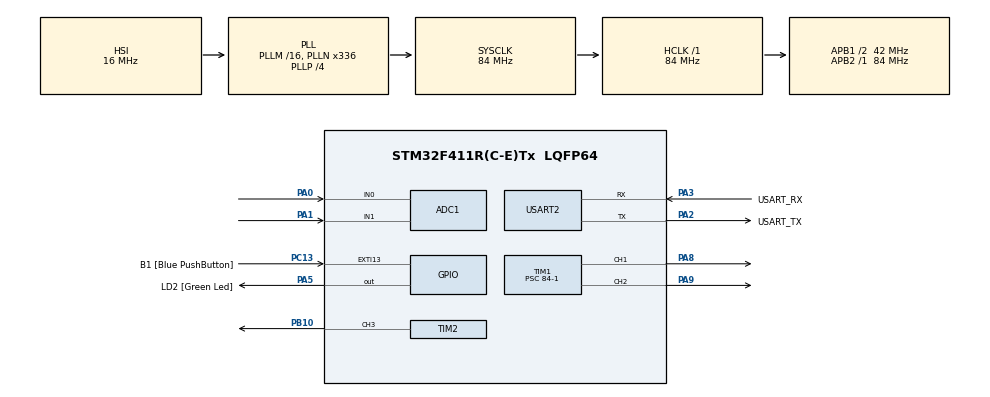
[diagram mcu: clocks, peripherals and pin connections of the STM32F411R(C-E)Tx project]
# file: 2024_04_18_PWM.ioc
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ADC1.Channel-0\#ChannelRegularConversion=ADC_CHANNEL_0
ADC1.Channel-1\#ChannelRegularConversion=ADC_CHANNEL_1
ADC1.DiscontinuousConvMode=ENABLE
ADC1.EOCSelection=ADC_EOC_SINGLE_CONV
ADC1.NbrOfConversion=2
ADC1.NbrOfConversionFlag=1
ADC1.Rank-0\#ChannelRegularConversion=1
ADC1.Rank-1\#ChannelRegularConversion=2
ADC1.SamplingTime-0\#ChannelRegularConversion=ADC_SAMPLETIME_3CYCLES
ADC1.SamplingTime-1\#ChannelRegularConversion=ADC_SAMPLETIME_3CYCLES
ADC1.ScanConvMode=ENABLE
ADC1.master=1
Mcu.Family=STM32F4
Mcu.Name=STM32F411R(C-E)Tx
Mcu.Package=LQFP64
NVIC.ADC_IRQn=true\:0\:0\:false\:false\:true\:true\:true\:true
NVIC.PriorityGroup=NVIC_PRIORITYGROUP_0
NVIC.TIM1_BRK_TIM9_IRQn=true\:0\:0\:false\:false\:true\:true\:true\:true
NVIC.TIM1_CC_IRQn=true\:0\:0\:false\:false\:true\:true\:true\:true
NVIC.TIM1_TRG_COM_TIM11_IRQn=true\:0\:0\:false\:false\:true\:true\:true\:true
NVIC.TIM1_UP_TIM10_IRQn=true\:0\:0\:false\:false\:true\:true\:true\:true
PA0-WKUP.Signal=ADCx_IN0
PA1.Signal=ADCx_IN1
PA13.GPIO_Label=TMS
PA13.Mode=Serial_Wire
PA13.Signal=SYS_JTMS-SWDIO
PA14.GPIO_Label=TCK
PA14.Mode=Serial_Wire
PA14.Signal=SYS_JTCK-SWCLK
PA2.GPIO_Label=USART_TX
PA2.Mode=Asynchronous
PA2.Signal=USART2_TX
PA3.GPIO_Label=USART_RX
PA3.Mode=Asynchronous
PA3.Signal=USART2_RX
PA5.GPIO_Label=LD2 [Green Led]
PA5.Signal=GPIO_Output
PA8.Signal=S_TIM1_CH1
PA9.Signal=S_TIM1_CH2
PB10.Signal=S_TIM2_CH3
PB3.GPIO_Label=SWO
PB3.Signal=SYS_JTDO-SWO
PC13-ANTI_TAMP.GPIO_Label=B1 [Blue PushButton]
PC13-ANTI_TAMP.GPIO_ModeDefaultEXTI=GPIO_MODE_IT_FALLING
PC13-ANTI_TAMP.Signal=GPXTI13
PC14-OSC32_IN.Mode=LSE-External-Oscillator
PC14-OSC32_IN.Signal=RCC_OSC32_IN
PC15-OSC32_OUT.Mode=LSE-External-Oscillator
PC15-OSC32_OUT.Signal=RCC_OSC32_OUT
PH0\ -\ OSC_IN.Mode=HSE-External-Clock-Source
PH0\ -\ OSC_IN.Signal=RCC_OSC_IN
PH1\ -\ OSC_OUT.Mode=HSE-External-Clock-Source
PH1\ -\ OSC_OUT.Signal=RCC_OSC_OUT
ProjectManager.HeapSize=0x200
ProjectManager.StackSize=0x400
ProjectManager.TargetToolchain=STM32CubeIDE
RCC.48MHZClocksFreq_Value=84000000
RCC.AHBFreq_Value=84000000
RCC.APB1CLKDivider=RCC_HCLK_DIV2
RCC.APB1Freq_Value=42000000
RCC.APB1TimFreq_Value=84000000
RCC.APB2Freq_Value=84000000
RCC.APB2TimFreq_Value=84000000
RCC.CortexFreq_Value=84000000
RCC.FLatency-AdvancedSettings=FLASH_LATENCY_2
RCC.HCLKFreq_Value=84000000
RCC.HSE_VALUE=8000000
RCC.HSI_VALUE=16000000
RCC.PLLN=336
RCC.PLLP=RCC_PLLP_DIV4
RCC.SYSCLKFreq_VALUE=84000000
RCC.SYSCLKSource=RCC_SYSCLKSOURCE_PLLCLK
RCC.VCOOutputFreq_Value=336000000
SH.ADCx_IN0.0=ADC1_IN0,IN0
SH.ADCx_IN1.0=ADC1_IN1,IN1
SH.S_TIM1_CH1.0=TIM1_CH1,PWM Generation1 CH1
SH.S_TIM1_CH2.0=TIM1_CH2,PWM Generation2 CH2
SH.S_TIM2_CH3.0=TIM2_CH3,PWM Generation3 CH3
TIM1.Channel-PWM\ Generation1\ CH1=TIM_CHANNEL_1
TIM1.Channel-PWM\ Generation2\ CH2=TIM_CHANNEL_2
TIM1.Period=1000-1
TIM1.Prescaler=84-1
TIM1.Pulse-PWM\ Generation1\ CH1=0
TIM2.Channel-PWM\ Generation3\ CH3=TIM_CHANNEL_3
TIM2.Period=1000
TIM2.Pulse-PWM\ Generation3\ CH3=500
USART2.VirtualMode=VM_ASYNC
VP_TIM1_VS_ClockSourceINT.Mode=Internal
VP_TIM2_VS_ClockSourceINT.Mode=Internal
board=NUCLEO-F411RE

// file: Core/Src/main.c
/* USER CODE BEGIN Header */
/**
  ******************************************************************************
  * @file           : main.c
  * @brief          : Main program body
  ******************************************************************************
  * @attention
  *
  * Copyright (c) 2024 STMicroelectronics.
  * All rights reserved.
  *
  * This software is licensed under terms that can be found in the LICENSE file
  * in the root directory of this software component.
  * If no LICENSE file comes with this software, it is provided AS-IS.
  *
  ******************************************************************************
  */
/* USER CODE END Header */
#include "main.h"

/* USER CODE BEGIN Includes */
#include "D:\PJH\Github_clone\Haman3rd_PJH\ARM Architecture\Common\myLib.h"

/* USER CODE END Includes */

ADC_HandleTypeDef hadc1;

TIM_HandleTypeDef htim1;
TIM_HandleTypeDef htim2;

UART_HandleTypeDef huart2;

void SystemClock_Config(void);
static void MX_GPIO_Init(void);
static void MX_USART2_UART_Init(void);
static void MX_ADC1_Init(void);
static void MX_TIM1_Init(void);
static void MX_TIM2_Init(void);

int main(void)
{

  /* MCU Configuration--------------------------------------------------------*/

  /* Reset of all peripherals, Initializes the Flash interface and the Systick. */
  HAL_Init();

  /* Configure the system clock */
  SystemClock_Config();

  /* Initialize all configured peripherals */
  MX_GPIO_Init();
  MX_USART2_UART_Init();
  MX_ADC1_Init();
  MX_TIM1_Init();
  MX_TIM2_Init();
  /* USER CODE BEGIN 2 */
  ProgramStart();

  HAL_TIM_PWM_Start(&htim1, TIM_CHANNEL_1);
  HAL_TIM_PWM_Start(&htim1, TIM_CHANNEL_2);
  /* USER CODE END 2 */

  /* Infinite loop */
  while (1)
  {

    /* USER CODE BEGIN 3 */

	int r1 = GetAdcValue();
	int r2 = GetAdcValue();
	htim1.Instance->CCR1 = r1*990/4096;
	htim1.Instance->CCR2 = r2*990/4096;

  TIM1->PSC = RA4-1;
  HAL_Delay(500);
  TIM1->PSC = RE5-1;
  HAL_Delay(500);
  TIM1->PSC = 1-1;	// ?��?��
  HAL_Delay(500);

  TIM1->PSC = FA5-1;
  HAL_Delay(250);
  TIM1->PSC = FA5-1;
  HAL_Delay(250);
  TIM1->PSC = FA5-1;
  HAL_Delay(500);
  TIM1->PSC = ME5-1;
  HAL_Delay(500);
  TIM1->PSC = DOp5-1;
  HAL_Delay(500);
  TIM1->PSC = 1-1;
  HAL_Delay(500);

  TIM1->PSC = RA4-1;
  HAL_Delay(500);
  TIM1->PSC = RE4-1;
  HAL_Delay(500);
  TIM1->PSC = 1-1;
  HAL_Delay(500);

  TIM1->PSC = FA5-1;
  HAL_Delay(250);
  TIM1->PSC = FA5-1;
  HAL_Delay(250);
  TIM1->PSC = FA5-1;
  HAL_Delay(500);
  TIM1->PSC = ME5-1;
  HAL_Delay(500);
  TIM1->PSC = FA4-1;
  HAL_Delay(200);
  TIM1->PSC = SOL4-1;
  HAL_Delay(200);
  TIM1->PSC = RA4-1;
  HAL_Delay(200);

  TIM1->PSC = 191-1;
  HAL_Delay(300);
  TIM1->PSC = 214-1;
  HAL_Delay(200);
  TIM1->PSC = 214-1;
  HAL_Delay(200);
  TIM1->PSC = 241-1;
  HAL_Delay(200);
  TIM1->PSC = 241-1;
  HAL_Delay(200);
  TIM1->PSC = 1-1;
  HAL_Delay(100);
  TIM1->PSC = 241-1;
  HAL_Delay(200);
  TIM1->PSC = 241-1;
  HAL_Delay(200);
  TIM1->PSC = 241-1;
  HAL_Delay(200);
  TIM1->PSC = 1-1;
  HAL_Delay(100);
  TIM1->PSC = 241-1;
  HAL_Delay(200);
  TIM1->PSC = 286-1;
  HAL_Delay(200);
  TIM1->PSC = 1-1;
  HAL_Delay(200);

/*
	 for(int i=0; i<990; i++)
	     {
	        htim1.Instance->CCR1 = i;
	        htim1.Instance->CCR2 = 990-i;
	        HAL_Delay(10);
	     }
*/
  }
  /* USER CODE END 3 */
}

void SystemClock_Config(void)
{
  RCC_OscInitTypeDef RCC_OscInitStruct = {0};
  RCC_ClkInitTypeDef RCC_ClkInitStruct = {0};

  /** Configure the main internal regulator output voltage
  */
  __HAL_RCC_PWR_CLK_ENABLE();
  __HAL_PWR_VOLTAGESCALING_CONFIG(PWR_REGULATOR_VOLTAGE_SCALE1);

  /** Initializes the RCC Oscillators according to the specified parameters
  * in the RCC_OscInitTypeDef structure.
  */
  RCC_OscInitStruct.OscillatorType = RCC_OSCILLATORTYPE_HSI;
  RCC_OscInitStruct.HSIState = RCC_HSI_ON;
  RCC_OscInitStruct.HSICalibrationValue = RCC_HSICALIBRATION_DEFAULT;
  RCC_OscInitStruct.PLL.PLLState = RCC_PLL_ON;
  RCC_OscInitStruct.PLL.PLLSource = RCC_PLLSOURCE_HSI;
  RCC_OscInitStruct.PLL.PLLM = 16;
  RCC_OscInitStruct.PLL.PLLN = 336;
  RCC_OscInitStruct.PLL.PLLP = RCC_PLLP_DIV4;
  RCC_OscInitStruct.PLL.PLLQ = 4;
  if (HAL_RCC_OscConfig(&RCC_OscInitStruct) != HAL_OK)
  {
    Error_Handler();
  }

  /** Initializes the CPU, AHB and APB buses clocks
  */
  RCC_ClkInitStruct.ClockType = RCC_CLOCKTYPE_HCLK|RCC_CLOCKTYPE_SYSCLK
                              |RCC_CLOCKTYPE_PCLK1|RCC_CLOCKTYPE_PCLK2;
  RCC_ClkInitStruct.SYSCLKSource = RCC_SYSCLKSOURCE_PLLCLK;
  RCC_ClkInitStruct.AHBCLKDivider = RCC_SYSCLK_DIV1;
  RCC_ClkInitStruct.APB1CLKDivider = RCC_HCLK_DIV2;
  RCC_ClkInitStruct.APB2CLKDivider = RCC_HCLK_DIV1;

  if (HAL_RCC_ClockConfig(&RCC_ClkInitStruct, FLASH_LATENCY_2) != HAL_OK)
  {
    Error_Handler();
  }
}

static void MX_ADC1_Init(void)
{

  ADC_ChannelConfTypeDef sConfig = {0};

  /** Configure the global features of the ADC (Clock, Resolution, Data Alignment and number of conversion)
  */
  hadc1.Instance = ADC1;
  hadc1.Init.ClockPrescaler = ADC_CLOCK_SYNC_PCLK_DIV4;
  hadc1.Init.Resolution = ADC_RESOLUTION_12B;
  hadc1.Init.ScanConvMode = ENABLE;
  hadc1.Init.ContinuousConvMode = DISABLE;
  hadc1.Init.DiscontinuousConvMode = ENABLE;
  hadc1.Init.NbrOfDiscConversion = 1;
  hadc1.Init.ExternalTrigConvEdge = ADC_EXTERNALTRIGCONVEDGE_NONE;
  hadc1.Init.ExternalTrigConv = ADC_SOFTWARE_START;
  hadc1.Init.DataAlign = ADC_DATAALIGN_RIGHT;
  hadc1.Init.NbrOfConversion = 2;
  hadc1.Init.DMAContinuousRequests = DISABLE;
  hadc1.Init.EOCSelection = ADC_EOC_SINGLE_CONV;
  if (HAL_ADC_Init(&hadc1) != HAL_OK)
  {
    Error_Handler();
  }

  /** Configure for the selected ADC regular channel its corresponding rank in the sequencer and its sample time.
  */
  sConfig.Channel = ADC_CHANNEL_0;
  sConfig.Rank = 1;
  sConfig.SamplingTime = ADC_SAMPLETIME_3CYCLES;
  if (HAL_ADC_ConfigChannel(&hadc1, &sConfig) != HAL_OK)
  {
    Error_Handler();
  }

  /** Configure for the selected ADC regular channel its corresponding rank in the sequencer and its sample time.
  */
  sConfig.Channel = ADC_CHANNEL_1;
  sConfig.Rank = 2;
  if (HAL_ADC_ConfigChannel(&hadc1, &sConfig) != HAL_OK)
  {
    Error_Handler();
  }

}

static void MX_TIM1_Init(void)
{

  TIM_ClockConfigTypeDef sClockSourceConfig = {0};
  TIM_MasterConfigTypeDef sMasterConfig = {0};
  TIM_OC_InitTypeDef sConfigOC = {0};
  TIM_BreakDeadTimeConfigTypeDef sBreakDeadTimeConfig = {0};

  htim1.Instance = TIM1;
  htim1.Init.Prescaler = 84-1;
  htim1.Init.CounterMode = TIM_COUNTERMODE_UP;
  htim1.Init.Period = 1000-1;
  htim1.Init.ClockDivision = TIM_CLOCKDIVISION_DIV1;
  htim1.Init.RepetitionCounter = 0;
  htim1.Init.AutoReloadPreload = TIM_AUTORELOAD_PRELOAD_DISABLE;
  if (HAL_TIM_Base_Init(&htim1) != HAL_OK)
  {
    Error_Handler();
  }
  sClockSourceConfig.ClockSource = TIM_CLOCKSOURCE_INTERNAL;
  if (HAL_TIM_ConfigClockSource(&htim1, &sClockSourceConfig) != HAL_OK)
  {
    Error_Handler();
  }
  if (HAL_TIM_PWM_Init(&htim1) != HAL_OK)
  {
    Error_Handler();
  }
  sMasterConfig.MasterOutputTrigger = TIM_TRGO_RESET;
  sMasterConfig.MasterSlaveMode = TIM_MASTERSLAVEMODE_DISABLE;
  if (HAL_TIMEx_MasterConfigSynchronization(&htim1, &sMasterConfig) != HAL_OK)
  {
    Error_Handler();
  }
  sConfigOC.OCMode = TIM_OCMODE_PWM1;
  sConfigOC.Pulse = 0;
  sConfigOC.OCPolarity = TIM_OCPOLARITY_HIGH;
  sConfigOC.OCNPolarity = TIM_OCNPOLARITY_HIGH;
  sConfigOC.OCFastMode = TIM_OCFAST_DISABLE;
  sConfigOC.OCIdleState = TIM_OCIDLESTATE_RESET;
  sConfigOC.OCNIdleState = TIM_OCNIDLESTATE_RESET;
  if (HAL_TIM_PWM_ConfigChannel(&htim1, &sConfigOC, TIM_CHANNEL_1) != HAL_OK)
  {
    Error_Handler();
  }
  if (HAL_TIM_PWM_ConfigChannel(&htim1, &sConfigOC, TIM_CHANNEL_2) != HAL_OK)
  {
    Error_Handler();
  }
  sBreakDeadTimeConfig.OffStateRunMode = TIM_OSSR_DISABLE;
  sBreakDeadTimeConfig.OffStateIDLEMode = TIM_OSSI_DISABLE;
  sBreakDeadTimeConfig.LockLevel = TIM_LOCKLEVEL_OFF;
  sBreakDeadTimeConfig.DeadTime = 0;
  sBreakDeadTimeConfig.BreakState = TIM_BREAK_DISABLE;
  sBreakDeadTimeConfig.BreakPolarity = TIM_BREAKPOLARITY_HIGH;
  sBreakDeadTimeConfig.AutomaticOutput = TIM_AUTOMATICOUTPUT_DISABLE;
  if (HAL_TIMEx_ConfigBreakDeadTime(&htim1, &sBreakDeadTimeConfig) != HAL_OK)
  {
    Error_Handler();
  }
  HAL_TIM_MspPostInit(&htim1);

}

static void MX_TIM2_Init(void)
{

  TIM_ClockConfigTypeDef sClockSourceConfig = {0};
  TIM_MasterConfigTypeDef sMasterConfig = {0};
  TIM_OC_InitTypeDef sConfigOC = {0};

  htim2.Instance = TIM2;
  htim2.Init.Prescaler = 0;
  htim2.Init.CounterMode = TIM_COUNTERMODE_UP;
  htim2.Init.Period = 1000;
  htim2.Init.ClockDivision = TIM_CLOCKDIVISION_DIV1;
  htim2.Init.AutoReloadPreload = TIM_AUTORELOAD_PRELOAD_DISABLE;
  if (HAL_TIM_Base_Init(&htim2) != HAL_OK)
  {
    Error_Handler();
  }
  sClockSourceConfig.ClockSource = TIM_CLOCKSOURCE_INTERNAL;
  if (HAL_TIM_ConfigClockSource(&htim2, &sClockSourceConfig) != HAL_OK)
  {
    Error_Handler();
  }
  if (HAL_TIM_PWM_Init(&htim2) != HAL_OK)
  {
    Error_Handler();
  }
  sMasterConfig.MasterOutputTrigger = TIM_TRGO_RESET;
  sMasterConfig.MasterSlaveMode = TIM_MASTERSLAVEMODE_DISABLE;
  if (HAL_TIMEx_MasterConfigSynchronization(&htim2, &sMasterConfig) != HAL_OK)
  {
    Error_Handler();
  }
  sConfigOC.OCMode = TIM_OCMODE_PWM1;
  sConfigOC.Pulse = 500;
  sConfigOC.OCPolarity = TIM_OCPOLARITY_HIGH;
  sConfigOC.OCFastMode = TIM_OCFAST_DISABLE;
  if (HAL_TIM_PWM_ConfigChannel(&htim2, &sConfigOC, TIM_CHANNEL_3) != HAL_OK)
  {
    Error_Handler();
  }
  HAL_TIM_MspPostInit(&htim2);

}

static void MX_USART2_UART_Init(void)
{

  huart2.Instance = USART2;
  huart2.Init.BaudRate = 115200;
  huart2.Init.WordLength = UART_WORDLENGTH_8B;
  huart2.Init.StopBits = UART_STOPBITS_1;
  huart2.Init.Parity = UART_PARITY_NONE;
  huart2.Init.Mode = UART_MODE_TX_RX;
  huart2.Init.HwFlowCtl = UART_HWCONTROL_NONE;
  huart2.Init.OverSampling = UART_OVERSAMPLING_16;
  if (HAL_UART_Init(&huart2) != HAL_OK)
  {
    Error_Handler();
  }

}

static void MX_GPIO_Init(void)
{
  GPIO_InitTypeDef GPIO_InitStruct = {0};

  /* GPIO Ports Clock Enable */
  __HAL_RCC_GPIOC_CLK_ENABLE();
  __HAL_RCC_GPIOH_CLK_ENABLE();
  __HAL_RCC_GPIOA_CLK_ENABLE();
  __HAL_RCC_GPIOB_CLK_ENABLE();

  /*Configure GPIO pin Output Level */
  HAL_GPIO_WritePin(LD2_GPIO_Port, LD2_Pin, GPIO_PIN_RESET);

  /*Configure GPIO pin : B1_Pin */
  GPIO_InitStruct.Pin = B1_Pin;
  GPIO_InitStruct.Mode = GPIO_MODE_IT_FALLING;
  GPIO_InitStruct.Pull = GPIO_NOPULL;
  HAL_GPIO_Init(B1_GPIO_Port, &GPIO_InitStruct);

  /*Configure GPIO pin : LD2_Pin */
  GPIO_InitStruct.Pin = LD2_Pin;
  GPIO_InitStruct.Mode = GPIO_MODE_OUTPUT_PP;
  GPIO_InitStruct.Pull = GPIO_NOPULL;
  GPIO_InitStruct.Speed = GPIO_SPEED_FREQ_LOW;
  HAL_GPIO_Init(LD2_GPIO_Port, &GPIO_InitStruct);

}

void Error_Handler(void)
{
  __disable_irq();
  while (1)
  {
  }
}
